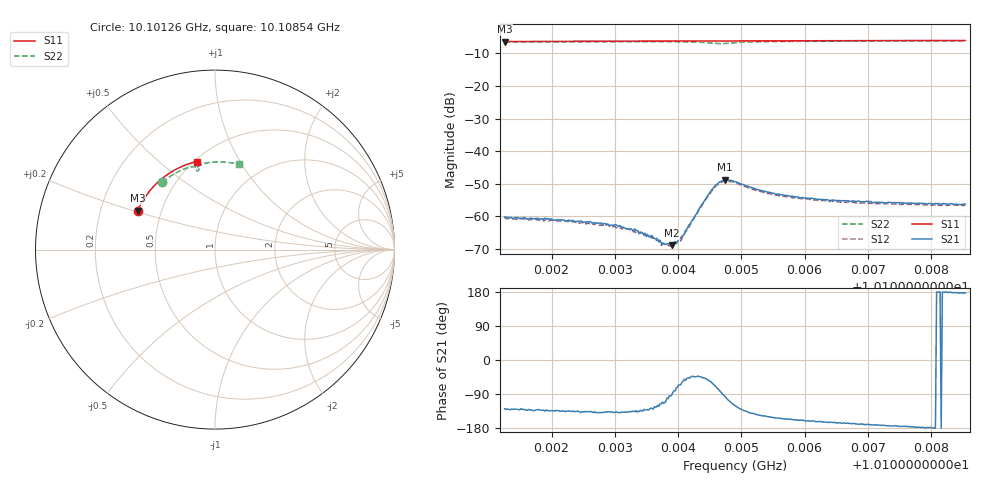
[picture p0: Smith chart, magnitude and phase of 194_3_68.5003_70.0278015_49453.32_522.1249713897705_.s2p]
#  HZ  S  RI  R  50.00
! Rohde & Schwarz Vector Network Analyzer
! Rohde-Schwarz,ZNB20-2Port,1311601062101988,3.16
! Created: UTC 3/20/2024, 4:57:15 PM
! freq[Hz]  re:S11  im:S11  re:S21  im:S21  re:S12  im:S12  re:S22  im:S22
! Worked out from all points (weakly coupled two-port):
!   401 points, 10.10126 GHz to 10.10854 GHz, reference 50 ohm
!   highest |S21| = -48.83 dB at 10.10474 GHz (marker M1); lowest = -69.0 dB at 10.1039 GHz (marker M2)
!   lowest |S11| = -6.3 dB at 10.10126 GHz (marker M3), VSWR 2.87, Z = 18.3 + j10.4 ohm
!   |S11| at or under -10 dB: nowhere
!   |S22| runs from -7.0 to -6.1 dB; largest |S21 - S12| = 0.00037
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1.0101257e10  -0.4308 0.2178  -0.000603 -0.000757  -0.000524 -0.000772  -0.2931 0.3742
1.0102478e10  -0.3957 0.2833  -0.00061 -0.000562  -0.000548 -0.00059  -0.2287 0.4208
1.0102878e10  -0.3819 0.3035  -0.000557 -0.000519  -0.000492 -0.000543  -0.2056 0.4336
1.0103042e10  -0.376 0.3116  -0.000537 -0.000472  -0.000452 -0.000475  -0.1956 0.4385
1.0103224e10  -0.3693 0.3203  -0.000454 -0.000433  -0.000419 -0.000475  -0.1844 0.4438
1.0103407e10  -0.3624 0.329  -0.000384 -0.000413  -0.000364 -0.000417  -0.1729 0.4486
1.0103625e10  -0.3536 0.3391  -0.000251 -0.000378  -0.000227 -0.000382  -0.1586 0.4539
1.0103698e10  -0.3508 0.3423  -0.000214 -0.000337  -0.000195 -0.000374  -0.1536 0.4554
1.0103771e10  -0.3478 0.3456  -0.00016 -0.00035  -0.000123 -0.000355  -0.1484 0.4571
1.0103898e10  -0.3426 0.3513  -1.7e-05 -0.000356  3.49e-05 -0.000362  -0.1392 0.4593
1.0104008e10  -0.338 0.3562  0.000179 -0.000394  0.000198 -0.000347  -0.131 0.461
1.0104062e10  -0.3358 0.3586  0.000256 -0.000421  0.000259 -0.000381  -0.1265 0.4615
1.0104408e10  -0.3208 0.3733  0.00113 -0.00123  0.00119 -0.00109  -0.0971 0.4568
1.0104554e10  -0.3141 0.3792  0.0012 -0.00241  0.00138 -0.00221  -0.0898 0.4459
1.0104645e10  -0.31 0.3827  0.000626 -0.00323  0.000857 -0.00305  -0.0924 0.4391
1.0104736e10  -0.306 0.3863  -0.000351 -0.0036  -4.38e-05 -0.00344  -0.0989 0.4388
1.01049e10  -0.2985 0.3928  -0.00169 -0.00291  -0.00141 -0.00293  -0.1024 0.4513
1.0105392e10  -0.2751 0.4112  -0.00203 -0.00124  -0.00183 -0.00133  -0.0715 0.476
1.010572e10  -0.2587 0.4226  -0.00189 -0.000831  -0.00172 -0.000987  -0.0483 0.4824
1.0106121e10  -0.2383 0.4355  -0.00176 -0.000617  -0.00162 -0.000719  -0.021 0.4865
1.0107341e10  -0.1721 0.4685  -0.00161 -0.000178  -0.00151 -0.00031  0.0591 0.4873
1.0108543e10  -0.103 0.4907  -0.00153 8.86e-05  -0.00145 -6.94e-05  0.1353 0.4747
